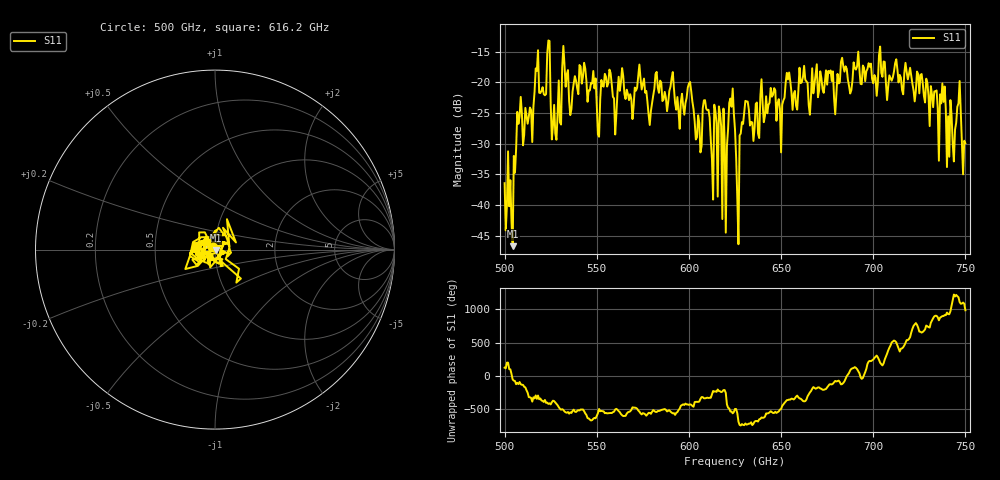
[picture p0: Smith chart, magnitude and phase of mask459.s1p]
!Created with skrf (http://scikit-rf.org).
# GHz S MA R 50.0
!freq magS11 angS11
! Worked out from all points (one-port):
!   401 points, 500 GHz to 750 GHz, reference 50 ohm
!   lowest |S11| = -46.7 dB at 504.4 GHz (marker M1), VSWR 1.01, Z = 50.3 - j0.361 ohm
!   |S11| at or under -10 dB: start of sweep to end of sweep
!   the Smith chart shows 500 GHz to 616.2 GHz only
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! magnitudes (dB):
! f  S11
! 500 GHz  -36.5
! 504.4 GHz  -46.7
! 508.1 GHz  -25.6
! 513.8 GHz  -24.1
! 523.1 GHz  -15.3
! 526.9 GHz  -23.7
! 531.2 GHz  -17.6
! 542.5 GHz  -19.1
! 551.2 GHz  -28.9
! 553.8 GHz  -20.7
! 562.5 GHz  -21.4
! 593.8 GHz  -22.4
! 600.6 GHz  -20.0
! 605.6 GHz  -26.6
! 609.4 GHz  -24.3
! 619.4 GHz  -29.4
! 622.5 GHz  -22.7
! 625 GHz  -27.7
! 626.9 GHz  -46.4
! 631.2 GHz  -23.1
! 634.4 GHz  -26.6
! 656.2 GHz  -24.5
! 687.5 GHz  -21.8
! 718.8 GHz  -19.5
! 737.5 GHz  -20.2
! 742.5 GHz  -25.4
! 746.2 GHz  -23.4
! 750 GHz  -30.0
